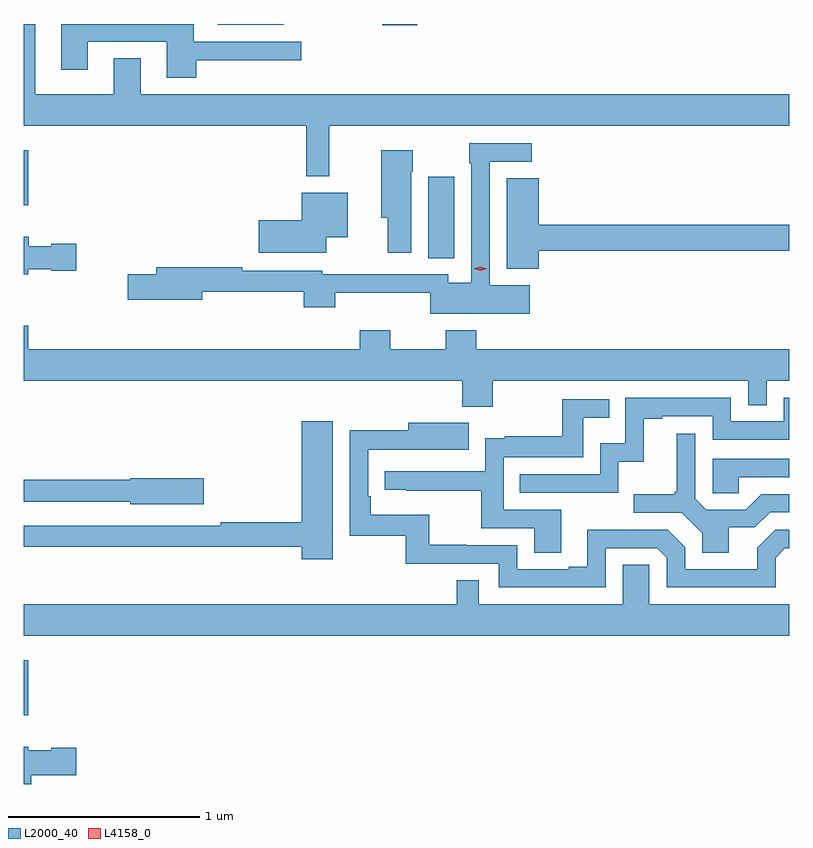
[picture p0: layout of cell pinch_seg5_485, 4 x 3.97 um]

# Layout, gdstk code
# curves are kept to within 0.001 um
import gdstk
lib = gdstk.Library(unit=1e-6, precision=1e-09)
def R(c, l, rs):  # rectangles x0, y0, x1, y1
    for r in rs: c.add(gdstk.rectangle(r[:2], r[2:], *l))
def P(c, l, *ps):  # polygons
    for p in ps: c.add(gdstk.Polygon(p, *l))
L2000_40 = (2000, 40)
L4158_0 = (4158, 0)

pinch_seg5_485 = lib.new_cell('pinch_seg5_485')
R(pinch_seg5_485, L2000_40, [(910.045,839.03,910.07,839.317), (912.158,841.417,912.295,841.843), (910.045,841.694,910.07,841.981), (911.918,842.634,912.101,842.64), (911.06,842.636,911.404,842.64)])
P(pinch_seg5_485, L2000_40, [(910.946,842.45),(911.494,842.45),(911.494,842.547),(910.933,842.547),(910.933,842.64),(910.241,842.64),(910.241,842.4),(910.381,842.4),(910.381,842.547),(910.793,842.547),(910.793,842.358),(910.946,842.358)],
  [(911.642,842.108),(914.045,842.108),(914.045,842.272),(910.657,842.272),(910.657,842.462),(910.517,842.462),(910.517,842.272),(910.105,842.272),(910.105,842.64),(910.045,842.64),(910.045,842.108),(911.521,842.108),(911.521,841.845),(911.642,841.845)],
  [(912.688,841.276),(912.48,841.276),(912.48,841.92),(912.7,841.92),(912.7,842.016),(912.372,842.016),(912.372,841.913),(912.384,841.913),(912.384,841.288),(912.264,841.288),(912.264,841.332),(911.852,841.332),(911.852,841.334),(911.604,841.334),(911.604,841.35),(911.186,841.35),(911.186,841.37),(910.739,841.37),(910.739,841.334),(910.59,841.334),(910.59,841.199),(910.978,841.199),(910.978,841.242),(911.507,841.242),(911.507,841.16),(911.672,841.16),(911.672,841.235),(912.168,841.235),(912.168,841.127),(912.688,841.127)],
  [(912.07,841.868),(912.078,841.868),(912.078,841.981),(911.912,841.981),(911.912,841.628),(911.948,841.628),(911.948,841.446),(912.07,841.446)],
  [(912.736,841.456),(914.045,841.456),(914.045,841.592),(912.736,841.592),(912.736,841.835),(912.569,841.835),(912.569,841.361),(912.736,841.361)],
  [(911.626,841.526),(911.737,841.526),(911.737,841.759),(911.498,841.759),(911.498,841.616),(911.274,841.616),(911.274,841.445),(911.626,841.445)],
  [(910.068,841.358),(910.188,841.358),(910.188,841.351),(910.321,841.351),(910.321,841.493),(910.188,841.493),(910.188,841.48),(910.072,841.48),(910.072,841.528),(910.045,841.528),(910.045,841.334),(910.068,841.334)],
  [(912.495,840.776),(913.83,840.776),(913.83,840.649),(913.926,840.649),(913.926,840.776),(914.045,840.776),(914.045,840.94),(912.41,840.94),(912.41,841.039),(912.25,841.039),(912.25,840.94),(911.961,840.94),(911.961,841.039),(911.801,841.039),(911.801,840.94),(910.07,840.94),(910.07,841.064),(910.045,841.064),(910.045,840.776),(912.335,840.776),(912.335,840.641),(912.495,840.641)],
  [(913.152,840.353),(913.285,840.353),(913.285,840.579),(913.381,840.579),(913.381,840.591),(913.644,840.591),(913.644,840.468),(914.045,840.468),(914.045,840.687),(914.016,840.687),(914.016,840.564),(913.74,840.564),(913.74,840.687),(913.188,840.687),(913.188,840.451),(913.056,840.451),(913.056,840.288),(912.637,840.288),(912.637,840.192),(913.152,840.192)],
  [(912.853,840.102),(912.552,840.102),(912.552,840.378),(912.969,840.378),(912.969,840.584),(913.103,840.584),(913.103,840.681),(912.858,840.681),(912.858,840.487),(912.559,840.487),(912.559,840.475),(912.456,840.475),(912.456,840.303),(911.931,840.303),(911.931,840.207),(912.043,840.207),(912.043,840.202),(912.436,840.202),(912.436,840.006),(912.713,840.006),(912.713,839.878),(912.853,839.878)],
  [(911.659,840.565),(911.498,840.565),(911.498,840.038),(911.074,840.038),(911.074,840.018),(910.045,840.018),(910.045,839.91),(911.498,839.91),(911.498,839.844),(911.659,839.844)],
  [(913.086,839.901),(913.356,839.901),(913.404,839.853),(913.404,839.697),(913.974,839.697),(913.974,839.853),(914.022,839.901),(914.045,839.901),(914.045,839.997),(913.971,839.997),(913.877,839.903),(913.877,839.793),(913.5,839.793),(913.5,839.907),(913.41,839.997),(913.194,839.997),(913.194,839.999),(912.989,839.999),(912.989,839.806),(912.893,839.806),(912.893,839.793),(912.624,839.793),(912.624,839.916),(912.359,839.916),(912.359,839.921),(912.163,839.921),(912.163,840.076),(911.858,840.076),(911.858,840.172),(911.844,840.172),(911.844,840.417),(912.371,840.416),(912.371,840.556),(912.053,840.556),(912.053,840.518),(911.748,840.518),(911.748,839.967),(912.042,839.967),(912.042,839.82),(912.528,839.82),(912.528,839.697),(913.086,839.697)],
  [(913.729,840.01),(913.864,840.01),(913.944,840.09),(914.045,840.09),(914.045,840.183),(913.898,840.183),(913.817,840.102),(913.611,840.102),(913.554,840.159),(913.554,840.499),(913.457,840.499),(913.457,840.196),(913.446,840.196),(913.446,840.184),(913.233,840.184),(913.233,840.087),(913.482,840.087),(913.589,839.98),(913.589,839.878),(913.729,839.878)],
  [(913.781,840.273),(914.045,840.273),(914.045,840.369),(913.644,840.369),(913.644,840.189),(913.781,840.189)],
  [(910.987,840.266),(910.602,840.266),(910.602,840.26),(910.045,840.26),(910.045,840.144),(910.602,840.144),(910.602,840.131),(910.987,840.131)],
  [(914.045,839.608),(913.314,839.608),(913.314,839.816),(913.175,839.816),(913.175,839.608),(912.423,839.608),(912.423,839.735),(912.307,839.735),(912.307,839.608),(910.045,839.608),(910.045,839.444),(914.045,839.444)],
  [(910.085,838.717),(910.321,838.717),(910.321,838.859),(910.188,838.859),(910.188,838.846),(910.068,838.846),(910.068,838.864),(910.045,838.864),(910.045,838.67),(910.085,838.67)])
P(pinch_seg5_485, L4158_0, [(912.431,841.352),(912.397,841.362),(912.396,841.362),(912.397,841.362),(912.431,841.372),(912.466,841.362),(912.466,841.362),(912.466,841.362)])

lib.write_gds('pinch_seg5_485.gds')
